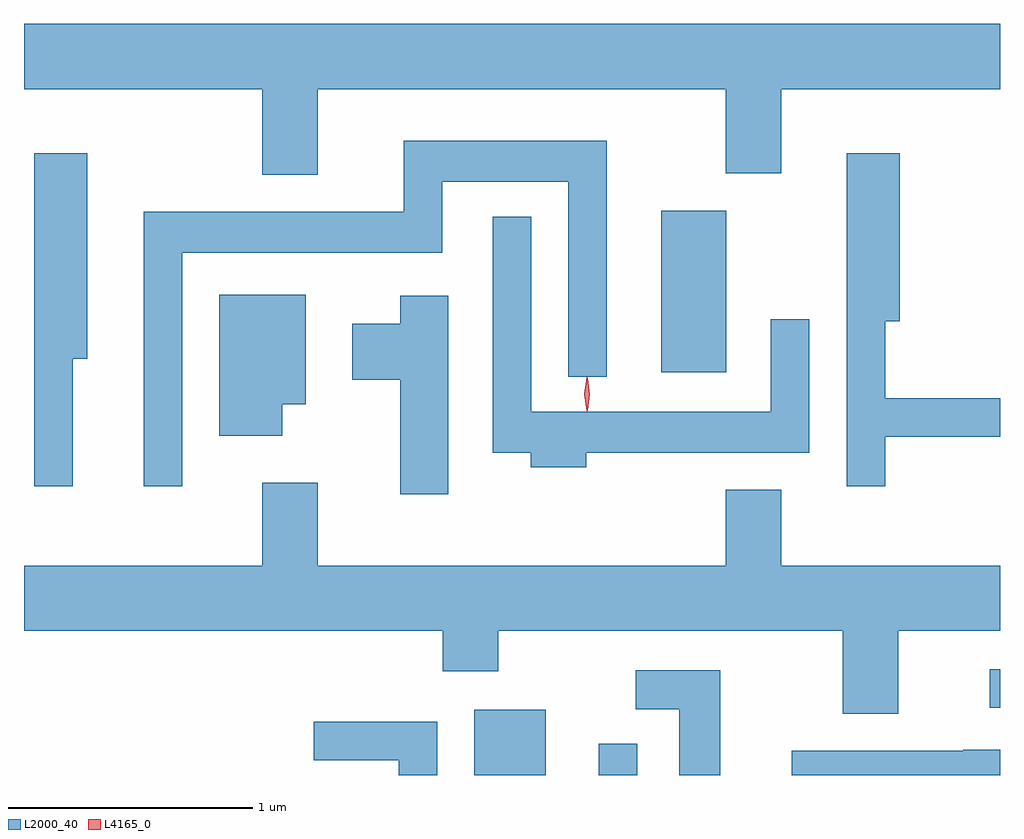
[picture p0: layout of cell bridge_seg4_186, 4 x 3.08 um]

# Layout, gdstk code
import gdstk
lib = gdstk.Library(unit=1e-6, precision=1e-09)
def R(c, l, rs):  # rectangles x0, y0, x1, y1
    for r in rs: c.add(gdstk.rectangle(r[:2], r[2:], *l))
def P(c, l, *ps):  # polygons
    for p in ps: c.add(gdstk.Polygon(p, *l))
L2000_40 = (2000, 40)
L4165_0 = (4165, 0)

bridge_seg4_186 = lib.new_cell('bridge_seg4_186')
R(bridge_seg4_186, L2000_40, [(1039.961,1311.905,1040.254,1312.174), (1040.471,1311.905,1040.629,1312.033), (1042.073,1312.181,1042.115,1312.339), (1040.726,1313.556,1040.994,1314.219)])
P(bridge_seg4_186, L2000_40, [(1039.319,1314.716),(1040.991,1314.716),(1040.991,1314.371),(1041.219,1314.371),(1041.219,1314.716),(1042.115,1314.716),(1042.115,1314.984),(1038.115,1314.984),(1038.115,1314.716),(1039.091,1314.716),(1039.091,1314.366),(1039.319,1314.366)],
  [(1038.764,1314.046),(1039.829,1314.046),(1039.829,1314.336),(1040.346,1314.336),(1040.346,1313.538),(1040.504,1313.538),(1040.504,1314.504),(1039.671,1314.504),(1039.671,1314.214),(1038.606,1314.214),(1038.606,1313.088),(1038.764,1313.088)],
  [(1041.644,1313.291),(1042.115,1313.291),(1042.115,1313.449),(1041.644,1313.449),(1041.644,1313.766),(1041.704,1313.766),(1041.704,1314.454),(1041.486,1314.454),(1041.486,1313.088),(1041.644,1313.088)],
  [(1038.314,1313.611),(1038.374,1313.611),(1038.374,1314.454),(1038.156,1314.454),(1038.156,1313.088),(1038.314,1313.088)],
  [(1040.419,1313.226),(1041.334,1313.226),(1041.334,1313.773),(1041.176,1313.773),(1041.176,1313.394),(1040.194,1313.394),(1040.194,1314.193),(1040.036,1314.193),(1040.036,1313.226),(1040.191,1313.226),(1040.191,1313.166),(1040.419,1313.166)],
  [(1039.174,1313.426),(1039.269,1313.426),(1039.269,1313.874),(1038.916,1313.874),(1038.916,1313.296),(1039.174,1313.296)],
  [(1039.854,1313.869),(1039.656,1313.869),(1039.656,1313.754),(1039.461,1313.754),(1039.461,1313.526),(1039.656,1313.526),(1039.656,1313.056),(1039.854,1313.056)],
  [(1041.699,1312.496),(1042.115,1312.496),(1042.115,1312.764),(1041.219,1312.764),(1041.219,1313.074),(1040.991,1313.074),(1040.991,1312.764),(1039.319,1312.764),(1039.319,1313.104),(1039.091,1313.104),(1039.091,1312.764),(1038.115,1312.764),(1038.115,1312.496),(1039.831,1312.496),(1039.831,1312.331),(1040.059,1312.331),(1040.059,1312.496),(1041.471,1312.496),(1041.471,1312.156),(1041.699,1312.156)],
  [(1040.969,1312.334),(1040.623,1312.334),(1040.623,1312.176),(1040.801,1312.176),(1040.801,1311.905),(1040.969,1311.905)],
  [(1039.809,1312.124),(1039.303,1312.124),(1039.303,1311.966),(1039.651,1311.966),(1039.651,1311.905),(1039.809,1311.905)],
  [(1042.115,1312.009),(1041.965,1312.009),(1041.965,1312.004),(1041.261,1312.004),(1041.261,1311.905),(1042.115,1311.905)])
P(bridge_seg4_186, L4165_0, [(1040.422,1313.397),(1040.422,1313.398),(1040.412,1313.467),(1040.422,1313.536),(1040.422,1313.536),(1040.423,1313.536),(1040.432,1313.467),(1040.423,1313.398)],
  [(1040.425,1313.399),(1040.424,1313.4),(1040.415,1313.466),(1040.424,1313.532),(1040.424,1313.533),(1040.425,1313.532),(1040.434,1313.466),(1040.425,1313.4)])

lib.write_gds('bridge_seg4_186.gds')
